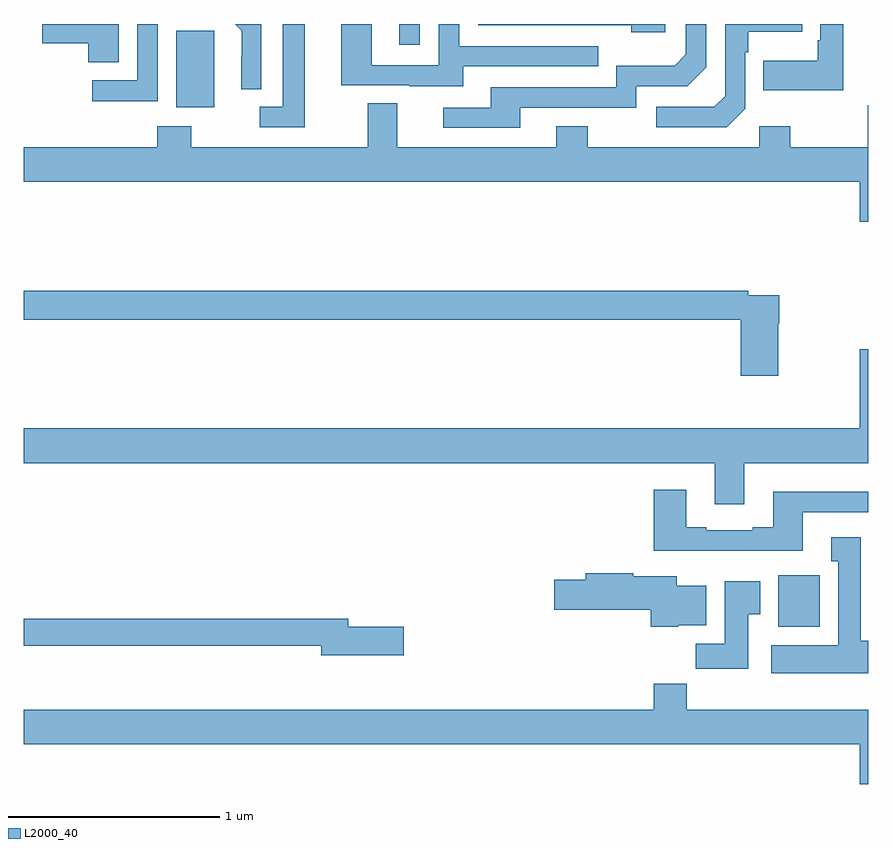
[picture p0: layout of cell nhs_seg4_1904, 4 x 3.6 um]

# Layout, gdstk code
import gdstk
lib = gdstk.Library(unit=1e-6, precision=1e-09)
def R(c, l, rs):  # rectangles x0, y0, x1, y1
    for r in rs: c.add(gdstk.rectangle(r[:2], r[2:], *l))
def P(c, l, *ps):  # polygons
    for p in ps: c.add(gdstk.Polygon(p, *l))
L2000_40 = (2000, 40)

nhs_seg4_1904 = lib.new_cell('nhs_seg4_1904')
R(nhs_seg4_1904, L2000_40, [(212.573,796.046,212.77,796.288), (209.723,798.506,209.902,798.867), (210.779,798.801,210.876,798.9)])
P(nhs_seg4_1904, L2000_40, [(212.881,798.9),(212.772,798.9),(212.772,798.823),(212.76,798.823),(212.76,798.727),(212.503,798.727),(212.503,798.587),(212.881,798.587)],
  [(212.418,798.498),(212.418,798.767),(212.431,798.767),(212.431,798.863),(212.687,798.863),(212.687,798.9),(212.322,798.9),(212.322,798.558),(212.271,798.507),(211.995,798.507),(211.995,798.411),(212.331,798.411)],
  [(210.331,798.9),(210.227,798.9),(210.227,798.507),(210.117,798.507),(210.117,798.411),(210.331,798.411)],
  [(211.081,798.699),(211.721,798.699),(211.721,798.795),(211.062,798.795),(211.062,798.9),(210.966,798.9),(210.966,798.705),(210.648,798.705),(210.648,798.9),(210.503,798.9),(210.503,798.609),(210.827,798.609),(210.827,798.605),(211.081,798.605)],
  [(211.351,798.504),(211.902,798.504),(211.902,798.606),(212.142,798.606),(212.232,798.696),(212.232,798.9),(212.136,798.9),(212.136,798.756),(212.083,798.703),(211.806,798.703),(211.806,798.6),(211.211,798.6),(211.211,798.504),(210.987,798.504),(210.987,798.408),(211.351,798.408)],
  [(212.038,798.9),(211.152,798.9),(211.152,798.894),(211.877,798.894),(211.877,798.86),(212.038,798.86)],
  [(210.126,798.9),(210.001,798.9),(210.032,798.869),(210.032,798.746),(210.03,798.746),(210.03,798.592),(210.126,798.592)],
  [(209.634,798.9),(209.538,798.9),(209.538,798.633),(209.325,798.633),(209.325,798.535),(209.634,798.535)],
  [(209.449,798.9),(209.088,798.9),(209.088,798.809),(209.306,798.809),(209.306,798.718),(209.449,798.718)],
  [(213,798.515),(212.998,798.515),(212.998,798.316),(212.631,798.316),(212.631,798.415),(212.484,798.415),(212.484,798.316),(211.671,798.316),(211.671,798.415),(211.523,798.415),(211.523,798.316),(210.769,798.316),(210.769,798.524),(210.629,798.524),(210.629,798.316),(209.793,798.316),(209.793,798.415),(209.633,798.415),(209.633,798.316),(209,798.316),(209,798.152),(212.96,798.152),(212.96,797.964),(213,797.964)],
  [(212.574,797.483),(212.579,797.483),(212.579,797.616),(212.432,797.616),(212.432,797.636),(209,797.636),(209,797.5),(212.396,797.5),(212.396,797.235),(212.574,797.235)],
  [(212.413,796.82),(213,796.82),(213,797.359),(212.96,797.359),(212.96,796.984),(209,796.984),(209,796.82),(212.273,796.82),(212.273,796.626),(212.413,796.626)],
  [(212.689,796.587),(213,796.587),(213,796.684),(212.549,796.684),(212.549,796.516),(212.453,796.516),(212.453,796.503),(212.233,796.503),(212.233,796.516),(212.137,796.516),(212.137,796.693),(211.985,796.693),(211.985,796.406),(212.689,796.406)],
  [(213,795.978),(212.965,795.978),(212.965,796.468),(212.825,796.468),(212.825,796.355),(212.858,796.355),(212.858,795.958),(212.541,795.958),(212.541,795.824),(213,795.824)],
  [(212.1,796.052),(212.233,796.052),(212.233,796.24),(212.092,796.24),(212.092,796.285),(211.886,796.285),(211.886,796.298),(211.661,796.298),(211.661,796.268),(211.512,796.268),(211.512,796.126),(211.97,796.126),(211.97,796.046),(212.1,796.046)],
  [(212.431,796.105),(212.488,796.105),(212.488,796.261),(212.321,796.261),(212.321,795.964),(212.182,795.964),(212.182,795.846),(212.431,795.846)],
  [(210.799,796.046),(210.538,796.046),(210.538,796.082),(209,796.082),(209,795.954),(210.41,795.954),(210.41,795.911),(210.799,795.911)],
  [(213,795.652),(212.141,795.652),(212.141,795.776),(211.985,795.776),(211.985,795.652),(209,795.652),(209,795.488),(212.96,795.488),(212.96,795.3),(213,795.3)])

lib.write_gds('nhs_seg4_1904.gds')
